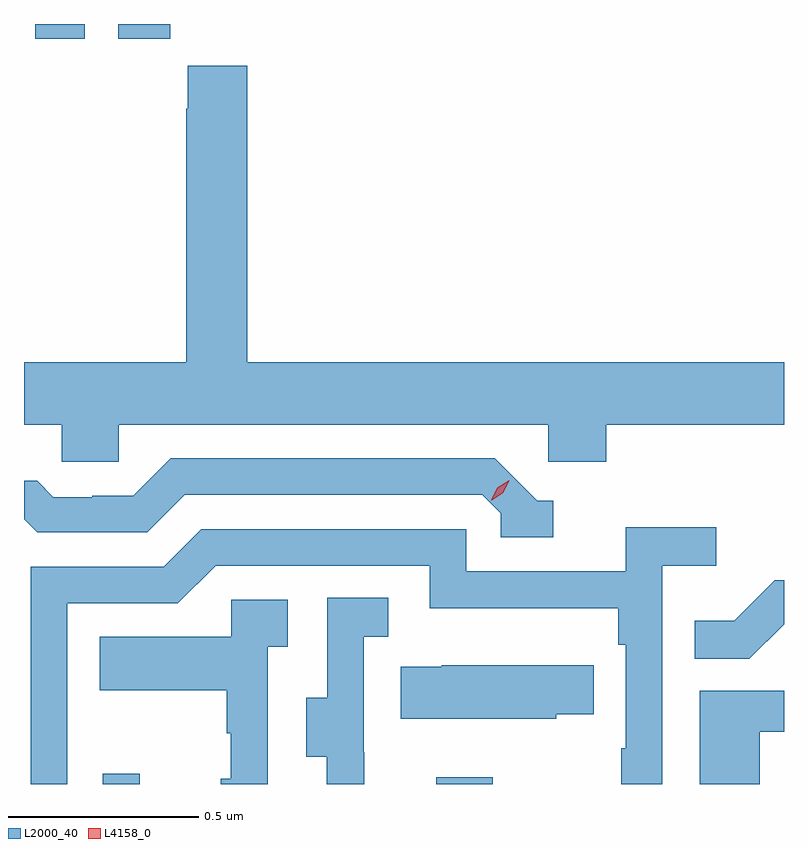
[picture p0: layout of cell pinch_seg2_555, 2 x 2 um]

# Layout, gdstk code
import gdstk
lib = gdstk.Library(unit=1e-6, precision=1e-09)
def R(c, l, rs):  # rectangles x0, y0, x1, y1
    for r in rs: c.add(gdstk.rectangle(r[:2], r[2:], *l))
def P(c, l, *ps):  # polygons
    for p in ps: c.add(gdstk.Polygon(p, *l))
L2000_40 = (2000, 40)
L4158_0 = (4158, 0)

pinch_seg2_555 = lib.new_cell('pinch_seg2_555')
R(pinch_seg2_555, L2000_40, [(1093.731,606.73,1093.829,606.757), (1094.609,606.73,1094.757,606.748), (1093.553,608.691,1093.684,608.73), (1093.772,608.691,1093.909,608.73)])
P(pinch_seg2_555, L2000_40, [(1093.773,607.676),(1094.904,607.676),(1094.904,607.578),(1095.056,607.578),(1095.056,607.676),(1095.524,607.676),(1095.524,607.84),(1094.111,607.84),(1094.111,608.62),(1093.955,608.62),(1093.955,608.507),(1093.951,608.507),(1093.951,607.84),(1093.524,607.84),(1093.524,607.676),(1093.623,607.676),(1093.623,607.578),(1093.773,607.578)],
  [(1094.917,607.476),(1094.874,607.476),(1094.763,607.587),(1093.91,607.587),(1093.811,607.488),(1093.704,607.488),(1093.704,607.485),(1093.601,607.485),(1093.559,607.528),(1093.524,607.528),(1093.524,607.427),(1093.559,607.392),(1093.848,607.392),(1093.947,607.491),(1094.73,607.491),(1094.778,607.443),(1094.778,607.38),(1094.917,607.38)],
  [(1093.638,607.206),(1093.929,607.206),(1094.028,607.305),(1094.592,607.305),(1094.592,607.193),(1095.088,607.193),(1095.088,607.097),(1095.108,607.097),(1095.108,606.824),(1095.096,606.824),(1095.096,606.73),(1095.204,606.73),(1095.204,607.304),(1095.346,607.304),(1095.346,607.406),(1095.107,607.406),(1095.107,607.29),(1094.688,607.29),(1094.688,607.401),(1093.991,607.401),(1093.892,607.302),(1093.542,607.302),(1093.542,606.73),(1093.638,606.73)],
  [(1095.524,607.151),(1095.524,607.266),(1095.5,607.266),(1095.393,607.159),(1095.289,607.159),(1095.289,607.06),(1095.433,607.06)],
  [(1094.42,606.813),(1094.418,606.813),(1094.418,607.117),(1094.482,607.117),(1094.482,607.22),(1094.322,607.22),(1094.322,606.957),(1094.267,606.957),(1094.267,606.802),(1094.321,606.802),(1094.321,606.73),(1094.42,606.73)],
  [(1094.166,607.091),(1094.218,607.091),(1094.218,607.215),(1094.07,607.215),(1094.07,607.117),(1093.723,607.117),(1093.723,606.977),(1094.058,606.977),(1094.058,606.863),(1094.068,606.863),(1094.068,606.744),(1094.042,606.744),(1094.042,606.73),(1094.166,606.73)],
  [(1094.925,606.913),(1095.023,606.913),(1095.023,607.042),(1094.623,607.042),(1094.623,607.039),(1094.515,607.039),(1094.515,606.902),(1094.925,606.902)],
  [(1095.46,606.867),(1095.524,606.867),(1095.524,606.975),(1095.302,606.975),(1095.302,606.73),(1095.46,606.73)])
P(pinch_seg2_555, L4158_0, [(1094.754,607.477),(1094.754,607.477),(1094.77,607.51),(1094.801,607.529),(1094.801,607.529),(1094.801,607.529),(1094.785,607.496),(1094.755,607.477)])

lib.write_gds('pinch_seg2_555.gds')
